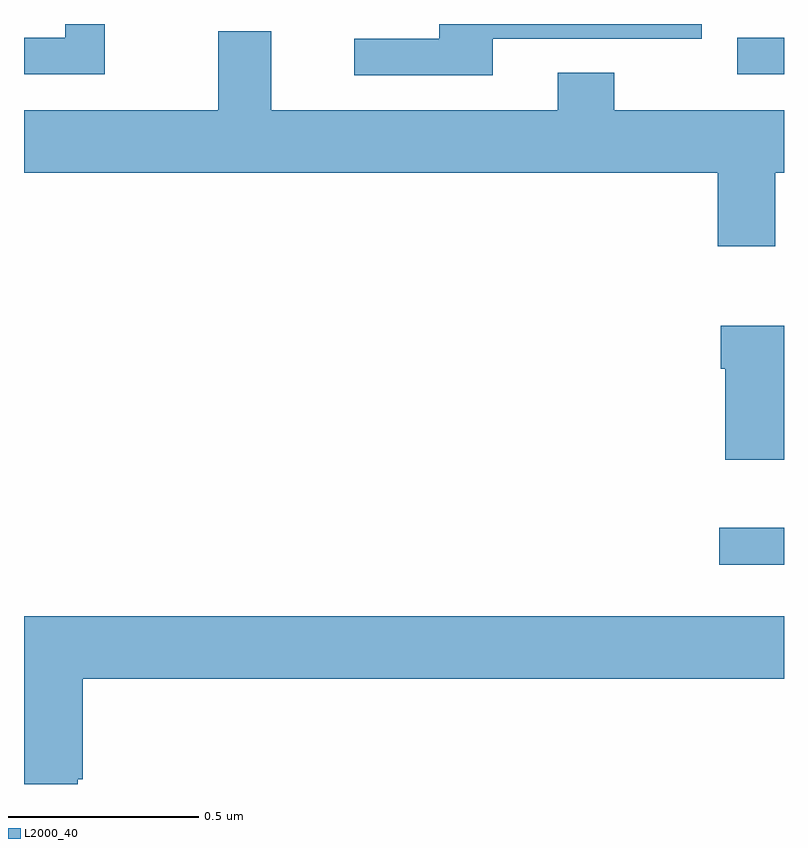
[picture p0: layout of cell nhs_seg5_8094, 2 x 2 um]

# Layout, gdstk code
import gdstk
lib = gdstk.Library(unit=1e-6, precision=1e-09)
def R(c, l, rs):  # rectangles x0, y0, x1, y1
    for r in rs: c.add(gdstk.rectangle(r[:2], r[2:], *l))
def P(c, l, *ps):  # polygons
    for p in ps: c.add(gdstk.Polygon(p, *l))
L2000_40 = (2000, 40)

nhs_seg5_8094 = lib.new_cell('nhs_seg5_8094')
R(nhs_seg5_8094, L2000_40, [(218.829,874.376,219,874.473), (218.877,875.667,219,875.763)])
P(nhs_seg5_8094, L2000_40, [(217.213,875.799),(217.109,875.799),(217.109,875.763),(217,875.763),(217,875.667),(217.213,875.667)],
  [(218.233,875.76),(218.784,875.76),(218.784,875.799),(218.093,875.799),(218.093,875.76),(217.869,875.76),(217.869,875.664),(218.233,875.664)],
  [(218.977,875.408),(219,875.408),(219,875.572),(218.553,875.572),(218.553,875.671),(218.405,875.671),(218.405,875.572),(217.651,875.572),(217.651,875.78),(217.511,875.78),(217.511,875.572),(217,875.572),(217,875.408),(218.825,875.408),(218.825,875.214),(218.977,875.214)],
  [(219,875.005),(218.834,875.005),(218.834,874.892),(218.846,874.892),(218.846,874.652),(219,874.652)],
  [(217.141,873.811),(217.154,873.811),(217.154,874.076),(219,874.076),(219,874.24),(217,874.24),(217,874.076),(217.001,874.076),(217.001,873.799),(217.141,873.799)])

lib.write_gds('nhs_seg5_8094.gds')
